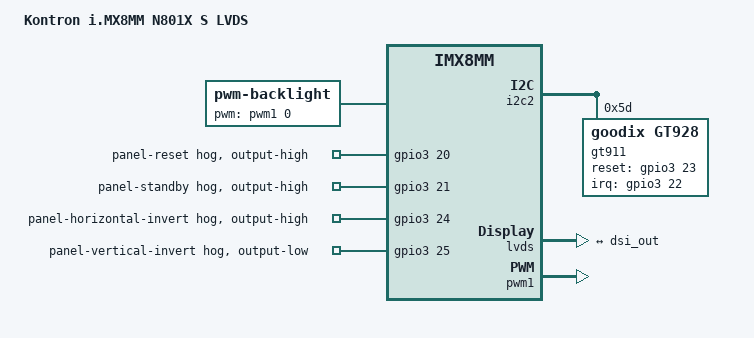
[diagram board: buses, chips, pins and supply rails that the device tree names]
// SPDX-License-Identifier: GPL-2.0
/*
 * Copyright (C) 2019 Kontron Electronics GmbH
 */

#include "imx8mm-kontron-n801x-s.dts"

/ {
	model = "Kontron i.MX8MM N801X S LVDS";
	compatible = "kontron,imx8mm-n801x-s-lvds", "fsl,imx8mm";

	backlight: backlight {
		compatible = "pwm-backlight";
		pwms = <&pwm1 0 50000>;
		brightness-levels = <0 100>;
		num-interpolated-steps = <100>;
		default-brightness-level = <100>;
		status = "okay";
	};
};

&gpio3 {
	panel_rst {
		gpio-hog;
		gpios = <20 GPIO_ACTIVE_HIGH>;
		output-high;
		line-name = "panel-reset";
		pinctrl-names = "default";
		pinctrl-0 = <&pinctrl_panel_rst>;
	};

	panel_stby {
		gpio-hog;
		gpios = <21 GPIO_ACTIVE_HIGH>;
		output-high;
		line-name = "panel-standby";
		pinctrl-names = "default";
		pinctrl-0 = <&pinctrl_panel_stby>;
	};

	panel_hinv {
		gpio-hog;
		gpios = <24 GPIO_ACTIVE_HIGH>;
		output-high;
		line-name = "panel-horizontal-invert";
		pinctrl-names = "default";
		pinctrl-0 = <&pinctrl_panel_hinv>;
	};

	panel_vinv {
		gpio-hog;
		gpios = <25 GPIO_ACTIVE_HIGH>;
		output-low;
		line-name = "panel-vertical-invert";
		pinctrl-names = "default";
		pinctrl-0 = <&pinctrl_panel_vinv>;
	};
};

&i2c2 {
	status = "okay";

	gt911@5d {
		compatible = "goodix,gt928";
		reg = <0x5d>;
		pinctrl-names = "default";
		pinctrl-0 = <&pinctrl_touch>;
		interrupt-parent = <&gpio3>;
		interrupts = <22 8>;
		reset-gpios = <&gpio3 23 0>;
		irq-gpios = <&gpio3 22 0>;
	};
};

&dsi_mux_sel {
	/delete-property/ output-high;
	output-low;
};

&hdmi {
	status = "disabled";
};

&lvds {
	ti,lvds-format = <2>;
	ti,lvds-bpp = <24>;
	ti,width-mm = <154>;
	ti,height-mm = <86>;
	pinctrl-names = "default", "panel";
	pinctrl-1 = <&pinctrl_sn65dsi84_panel>;
	enable-panel-gpios = <&gpio3 19 GPIO_ACTIVE_HIGH>;
	status = "okay";

	port {
		sn65dsi84_in: endpoint {
			remote-endpoint = <&dsi_out>;
		};
	};

	display-timings {
		lvds {
			clock-frequency = <51200000>;
			hactive = <1024>;
			vactive = <600>;
			hback-porch = <10>;
			hfront-porch = <10>;
			vback-porch = <10>;
			vfront-porch = <5>;
			hsync-len = <2>;
			vsync-len = <2>;
			hsync-active = <0>;
			vsync-active = <0>;
			de-active = <1>;
			pixelclk-active = <0>;
		};
	};
};

&dsi_out {
	remote-endpoint = <&sn65dsi84_in>;
};

&pwm1 {
	pinctrl-names = "default";
	pinctrl-0 = <&pinctrl_pwm1>;
	status = "okay";
};

&iomuxc {
	pinctrl_panel_rst: panelrstgrp {
		fsl,pins = <
			MX8MM_IOMUXC_SAI5_RXC_GPIO3_IO20		0x19 /* RESET family */
		>;
	};

	pinctrl_panel_stby: panelstbygrp {
		fsl,pins = <
			MX8MM_IOMUXC_SAI5_RXD0_GPIO3_IO21		0x19 /* STBY family */
		>;
	};

	pinctrl_panel_hinv: panelhinvgrp {
		fsl,pins = <
			MX8MM_IOMUXC_SAI5_RXD3_GPIO3_IO24		0x19 /* HINV panel */
		>;
	};

	pinctrl_panel_vinv: panelvinvgrp {
		fsl,pins = <
			MX8MM_IOMUXC_SAI5_MCLK_GPIO3_IO25		0x19 /* VINV panel */
		>;
	};

	pinctrl_pwm1: pwm1grp {
		fsl,pins = <
			MX8MM_IOMUXC_SPDIF_EXT_CLK_PWM1_OUT		0x6
		>;
	};

	pinctrl_sn65dsi84_panel: sn65dsi84panelgrp {
		fsl,pins = <
			MX8MM_IOMUXC_SAI5_RXFS_GPIO3_IO19		0x19 /* TFT-PWR - family */
		>;
	};

	pinctrl_touch: touchgrp {
		fsl,pins = <
			MX8MM_IOMUXC_SAI5_RXD1_GPIO3_IO22		0x19 /* Touch Interrupt */
			MX8MM_IOMUXC_SAI5_RXD2_GPIO3_IO23		0x19 /* Touch Reset */
		>;
	};
};
